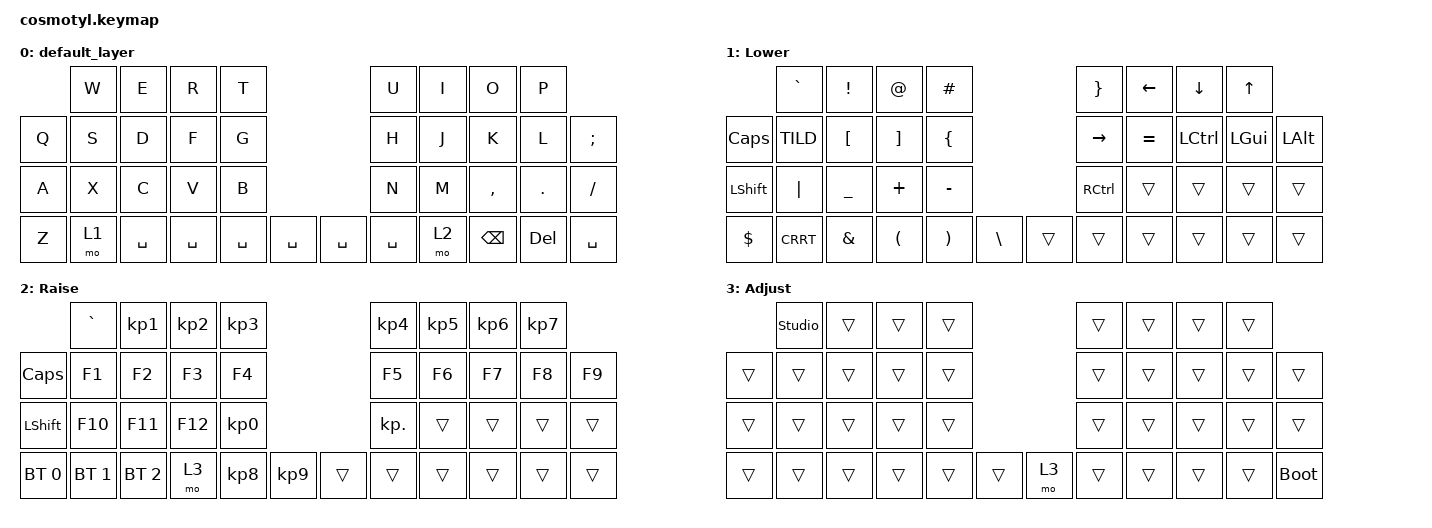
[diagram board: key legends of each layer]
#include <behaviors.dtsi>
#include <dt-bindings/zmk/keys.h>
#include <dt-bindings/zmk/bt.h>

/ {
    keymap {
        compatible = "zmk,keymap";

        default_layer {
            bindings = <
&kp W &kp E &kp R &kp T
&kp Q &kp S &kp D &kp F &kp G
&kp A &kp X &kp C &kp V &kp B
&kp Z &mo 1 &kp SPACE &kp SPACE &kp SPACE &kp SPACE
&kp U &kp I &kp O &kp P
&kp H &kp J &kp K &kp L &kp SEMI
&kp N &kp M &kp CMMA &kp DOT &kp FSLH
&kp SPACE &kp SPACE &mo 2 &kp BSPC &kp DEL &kp SPACE
            >;
        };

        lower_layer {
            display-name = "Lower";
            bindings = <
&kp GRAVE &kp EXCL &kp AT &kp HASH
&kp CAPS &kp TILD &kp LBKT &kp RBKT &kp LBRC
&kp LSHFT &kp PIPE &kp UNDER &kp PLUS &kp MINUS
&kp DLLR &kp CRRT &kp AMPS &kp LPAR &kp RPAR &kp BSLH
&kp RBRC &kp LEFT &kp DOWN &kp UP
&kp RIGHT &kp EQUAL &kp LCTRL &kp LGUI &kp LALT
&kp RCTRL &trans &trans &trans &trans
&trans &trans &trans &trans &trans &trans
            >;
        };

        raise_layer {
            display-name = "Raise";
            bindings = <
&kp GRAVE &kp KP_N1 &kp KP_N2 &kp KP_N3
&kp CAPS &kp F1 &kp F2 &kp F3 &kp F4
&kp LSHFT &kp F10 &kp F11 &kp F12 &kp KP_N0
&bt BT_SEL 0 &bt BT_SEL 1 &bt BT_SEL 2 &mo 3 &kp KP_N8 &kp KP_N9
&kp KP_N4 &kp KP_N5 &kp KP_N6 &kp KP_N7
&kp F5 &kp F6 &kp F7 &kp F8 &kp F9
&kp KP_DOT &trans &trans &trans &trans
&trans &trans &trans &trans &trans &trans
            >;
        };

        adjust_layer {
            display-name = "Adjust";
            bindings = <
&studio_unlock &trans &trans &trans
&trans &trans &trans &trans &trans
&trans &trans &trans &trans &trans
&trans &trans &trans &trans &trans &trans
&trans &trans &trans &trans
&trans &trans &trans &trans &trans
&trans &trans &trans &trans &trans
&mo 3 &trans &trans &trans &trans &bootloader
            >;
        };
    };
};
